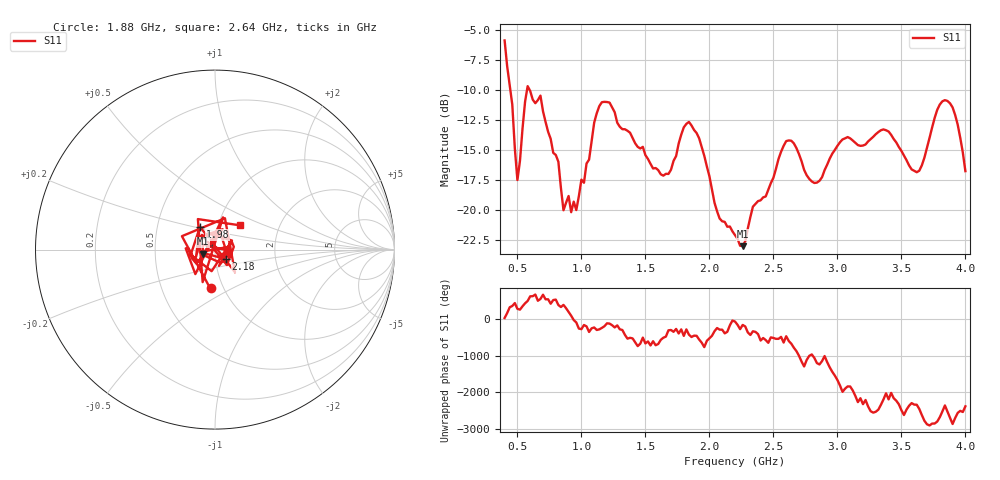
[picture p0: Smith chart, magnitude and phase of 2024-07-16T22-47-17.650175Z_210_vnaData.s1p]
!Created with skrf (http://scikit-rf.org).
# Hz S RI R 50.0
!freq ReS11 ImS11
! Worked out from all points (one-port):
!   181 points, 400 MHz to 4 GHz, reference 50 ohm
!   lowest |S11| = -23.0 dB at 2.26 GHz (marker M1), VSWR 1.15, Z = 43.7 - j2 ohm
!   |S11| at or under -10 dB: 444.4 MHz to 575 MHz (130.6 MHz wide, 25.6 % of centre); 595.8 MHz to end of sweep
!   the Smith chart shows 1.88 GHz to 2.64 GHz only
!   S11 on the Smith chart (normalised r, x): 1.88 GHz: 0.88, -0.40; 1.98 GHz: 0.82, +0.21; 2.18 GHz: 1.12, -0.12; 2.64 GHz: 1.27, +0.36
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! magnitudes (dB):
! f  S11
! 400 MHz  -5.9
! 460 MHz  -11.2
! 500 MHz  -17.5
! 580 MHz  -9.7
! 680 MHz  -10.5
! 820 MHz  -16.0
! 860 MHz  -20.0
! 960 MHz  -20.0
! 1.16 GHz  -11.0
! 1.3 GHz  -13.1
! 1.64 GHz  -17.1
! 1.76 GHz  -14.5
! 1.88 GHz  -13.3
! 1.98 GHz  -16.4
! 2.08 GHz  -20.7
! 2.18 GHz  -21.8
! 2.2 GHz  -22.1
! 2.26 GHz  -23.0
! 2.64 GHz  -14.2
! 2.66 GHz  -14.4
! 2.82 GHz  -17.7
! 3.1 GHz  -14.0
! 3.38 GHz  -13.4
! 3.56 GHz  -16.3
! 3.64 GHz  -16.7
! 3.84 GHz  -10.8
! 3.92 GHz  -12.1
! 4 GHz  -16.8
